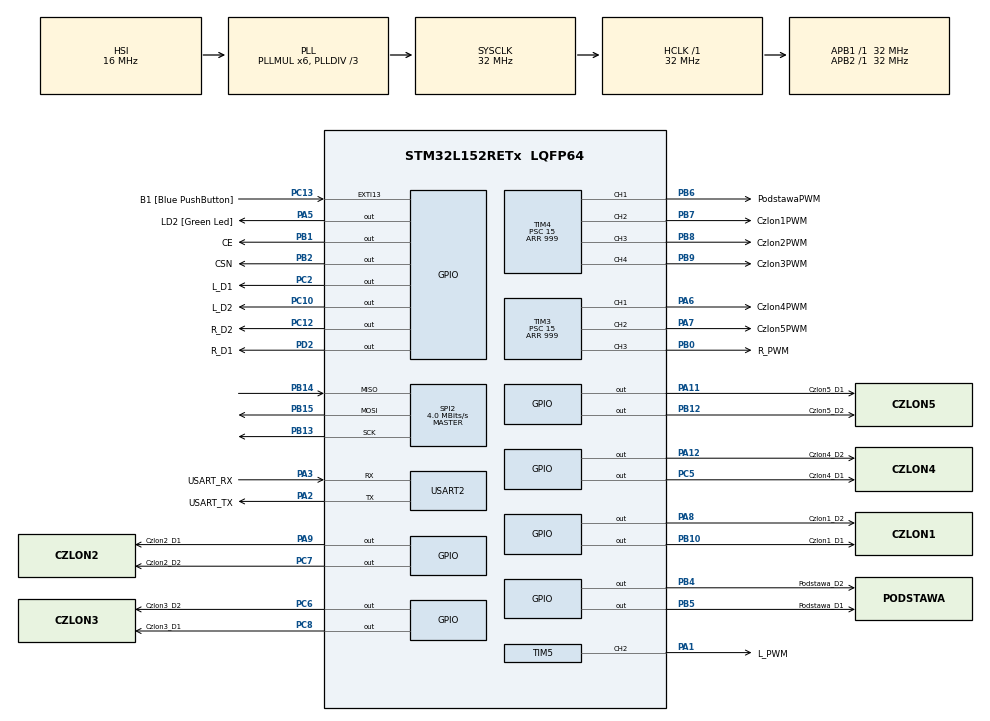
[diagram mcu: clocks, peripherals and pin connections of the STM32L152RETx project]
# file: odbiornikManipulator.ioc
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Mcu.Family=STM32L1
Mcu.Name=STM32L152RETx
Mcu.Package=LQFP64
NVIC.PriorityGroup=NVIC_PRIORITYGROUP_0
PA1.GPIO_Label=L_PWM
PA1.Signal=S_TIM5_CH2
PA11.GPIO_Label=Czlon5_D1
PA11.Signal=GPIO_Output
PA12.GPIO_Label=Czlon4_D2
PA12.Signal=GPIO_Output
PA13.GPIO_Label=TMS
PA13.Mode=Serial_Wire
PA13.Signal=SYS_JTMS-SWDIO
PA14.GPIO_Label=TCK
PA14.Mode=Serial_Wire
PA14.Signal=SYS_JTCK-SWCLK
PA2.GPIO_Label=USART_TX
PA2.Mode=Asynchronous
PA2.Signal=USART2_TX
PA3.GPIO_Label=USART_RX
PA3.Mode=Asynchronous
PA3.Signal=USART2_RX
PA5.GPIO_Label=LD2 [Green Led]
PA5.Signal=GPIO_Output
PA6.GPIO_Label=Czlon4PWM
PA6.Signal=S_TIM3_CH1
PA7.GPIO_Label=Czlon5PWM
PA7.Signal=S_TIM3_CH2
PA8.GPIO_Label=Czlon1_D2
PA8.Signal=GPIO_Output
PA9.GPIO_Label=Czlon2_D1
PA9.Signal=GPIO_Output
PB0.GPIO_Label=R_PWM
PB0.Signal=S_TIM3_CH3
PB1.GPIO_Label=CE
PB1.Signal=GPIO_Output
PB10.GPIO_Label=Czlon1_D1
PB10.Signal=GPIO_Output
PB12.GPIO_Label=Czlon5_D2
PB12.Signal=GPIO_Output
PB13.Mode=Full_Duplex_Master
PB13.Signal=SPI2_SCK
PB14.Mode=Full_Duplex_Master
PB14.Signal=SPI2_MISO
PB15.Mode=Full_Duplex_Master
PB15.Signal=SPI2_MOSI
PB2.GPIO_Label=CSN
PB2.Signal=GPIO_Output
PB3.GPIO_Label=SWO
PB3.Signal=SYS_JTDO-TRACESWO
PB4.GPIO_Label=Podstawa_D2
PB4.Signal=GPIO_Output
PB5.GPIO_Label=Podstawa_D1
PB5.Signal=GPIO_Output
PB6.GPIO_Label=PodstawaPWM
PB6.Signal=S_TIM4_CH1
PB7.GPIO_Label=Czlon1PWM
PB7.Signal=S_TIM4_CH2
PB8.GPIO_Label=Czlon2PWM
PB8.Signal=S_TIM4_CH3
PB9.GPIO_Label=Czlon3PWM
PB9.Signal=S_TIM4_CH4
PC10.GPIO_Label=L_D2
PC10.Signal=GPIO_Output
PC12.GPIO_Label=R_D2
PC12.Signal=GPIO_Output
PC13-WKUP2.GPIO_Label=B1 [Blue PushButton]
PC13-WKUP2.Signal=GPXTI13
PC14-OSC32_IN.Mode=LSE-External-Oscillator
PC14-OSC32_IN.Signal=RCC_OSC32_IN
PC15-OSC32_OUT.Mode=LSE-External-Oscillator
PC15-OSC32_OUT.Signal=RCC_OSC32_OUT
PC2.GPIO_Label=L_D1
PC2.Signal=GPIO_Output
PC5.GPIO_Label=Czlon4_D1
PC5.Signal=GPIO_Output
PC6.GPIO_Label=Czlon3_D2
PC6.Signal=GPIO_Output
PC7.GPIO_Label=Czlon2_D2
PC7.Signal=GPIO_Output
PC8.GPIO_Label=Czlon3_D1
PC8.Signal=GPIO_Output
PD2.GPIO_Label=R_D1
PD2.Signal=GPIO_Output
PH0-OSC_IN.Mode=HSE-External-Clock-Source
PH0-OSC_IN.Signal=RCC_OSC_IN
PH1-OSC_OUT.Signal=RCC_OSC_OUT
ProjectManager.HeapSize=0x200
ProjectManager.StackSize=0x400
ProjectManager.TargetToolchain=STM32CubeIDE
RCC.48MHZClocksFreq_Value=48000000
RCC.AHBFreq_Value=32000000
RCC.APB1Freq_Value=32000000
RCC.APB1TimFreq_Value=32000000
RCC.APB2Freq_Value=32000000
RCC.APB2TimFreq_Value=32000000
RCC.HCLKFreq_Value=32000000
RCC.HSE_VALUE=8000000
RCC.HSI_VALUE=16000000
RCC.MSI_VALUE=2097000
RCC.PLLDIV=RCC_PLL_DIV3
RCC.PLLMUL=RCC_PLL_MUL6
RCC.RTCClockSelectionVirtual=RCC_RTCCLKSOURCE_LSE
RCC.SYSCLKFreq_VALUE=32000000
RCC.SYSCLKSource=RCC_SYSCLKSOURCE_PLLCLK
RCC.USBOutput=48000000
RCC.VCOOutputFreq_Value=96000000
SH.S_TIM3_CH1.0=TIM3_CH1,PWM Generation1 CH1
SH.S_TIM3_CH2.0=TIM3_CH2,PWM Generation2 CH2
SH.S_TIM3_CH3.0=TIM3_CH3,PWM Generation3 CH3
SH.S_TIM4_CH1.0=TIM4_CH1,PWM Generation1 CH1
SH.S_TIM4_CH2.0=TIM4_CH2,PWM Generation2 CH2
SH.S_TIM4_CH3.0=TIM4_CH3,PWM Generation3 CH3
SH.S_TIM4_CH4.0=TIM4_CH4,PWM Generation4 CH4
SH.S_TIM5_CH2.0=TIM5_CH2,PWM Generation2 CH2
SPI2.BaudRatePrescaler=SPI_BAUDRATEPRESCALER_8
SPI2.CalculateBaudRate=4.0 MBits/s
SPI2.Direction=SPI_DIRECTION_2LINES
SPI2.Mode=SPI_MODE_MASTER
SPI2.VirtualType=VM_MASTER
TIM3.Channel-PWM\ Generation1\ CH1=TIM_CHANNEL_1
TIM3.Channel-PWM\ Generation2\ CH2=TIM_CHANNEL_2
TIM3.Channel-PWM\ Generation3\ CH3=TIM_CHANNEL_3
TIM3.OCPolarity_3=TIM_OCPOLARITY_HIGH
TIM3.Period=999
TIM3.Prescaler=15
TIM4.Channel-PWM\ Generation1\ CH1=TIM_CHANNEL_1
TIM4.Channel-PWM\ Generation2\ CH2=TIM_CHANNEL_2
TIM4.Channel-PWM\ Generation3\ CH3=TIM_CHANNEL_3
TIM4.Channel-PWM\ Generation4\ CH4=TIM_CHANNEL_4
TIM4.OC3Preload_PWM=ENABLE
TIM4.Period=999
TIM4.Prescaler=15
TIM5.Channel-PWM\ Generation2\ CH2=TIM_CHANNEL_2
TIM5.Period=999
TIM5.Prescaler=15
USART2.VirtualMode=VM_ASYNC
VP_TIM3_VS_ClockSourceINT.Mode=Internal
VP_TIM4_VS_ClockSourceINT.Mode=Internal
VP_TIM5_VS_ClockSourceINT.Mode=Internal
board=NUCLEO-L152RE

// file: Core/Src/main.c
/* USER CODE BEGIN Header */
/**
  ******************************************************************************
  * @file           : main.c
  * @brief          : Main program body
  ******************************************************************************
  * @attention
  *
  * Copyright (c) 2023 STMicroelectronics.
  * All rights reserved.
  *
  * This software is licensed under terms that can be found in the LICENSE file
  * in the root directory of this software component.
  * If no LICENSE file comes with this software, it is provided AS-IS.
  *
  ******************************************************************************
  */
/* USER CODE END Header */
#include "main.h"
#include "spi.h"
#include "tim.h"
#include "usart.h"
#include "gpio.h"

/* USER CODE BEGIN Includes */
#include "nRF24_Defs.h"
#include "nRF24.h"
#include "string.h"
#include <math.h>
/* USER CODE END Includes */

/* USER CODE BEGIN PV */
uint8_t nrfdata[15];
uint16_t c0 = 0;
uint16_t c1 = 0;
uint16_t c2 = 0;
uint16_t c3 = 0;
uint16_t c4 = 0;
uint16_t c5 = 0;
uint16_t c6 = 0;
uint16_t c7 = 0;
uint16_t f = 0;
uint16_t b = 0;

uint16_t rpwm = 0;
float pwm1 = 0;
float pwm2 = 0;
float step = 0.25;
uint16_t steringpwm = 0;
uint16_t lowvalue = 350;
uint16_t higvalue = 650;
float pwmRight = 0;
float pwmLeft = 0;
int ilpwm;
int irpwm;
uint32_t time;
uint32_t timereset;
/* USER CODE END PV */

void SystemClock_Config(void);

int main(void)
{
  /* USER CODE BEGIN 1 */
	void  stoppodst();
	void stopczlon5();
	void stopczlon1();
	void stopczlon2();
	void stopczlon3();
	void stopczlon4();

	void triggergripper();
	void motor5control();
	void motor4control();
	void motor3control();
	void motor2control();
	void motor1control();
	void motor0control();
	void move();
	void rotate();
	void stopLmotorF();
	void stopRmotorF();
	void rightside();
	void leftside();
	void RmotorF();
	void RmotorB();
	void LmotorF();
	void LmotorB();
	void PWMval(uint8_t ch, uint16_t val);

  /* USER CODE END 1 */

  /* MCU Configuration--------------------------------------------------------*/

  /* Reset of all peripherals, Initializes the Flash interface and the Systick. */
  HAL_Init();

  /* Configure the system clock */
  SystemClock_Config();

  /* Initialize all configured peripherals */
  MX_GPIO_Init();
  MX_USART2_UART_Init();
  MX_SPI2_Init();
  MX_TIM3_Init();
  MX_TIM4_Init();
  MX_TIM5_Init();
  /* USER CODE BEGIN 2 */

  //nRF initialize and settings

  nRF24_Init(&hspi2);
  nRF24_SetRXAddress(0, "Odb");
  nRF24_SetTXAddress("Nad");
  nRF24_RX_Mode();

  //Set timer 2 to PWM function

  HAL_TIM_PWM_Start(&htim4, TIM_CHANNEL_1);
  HAL_TIM_PWM_Start(&htim4, TIM_CHANNEL_2);
  HAL_TIM_PWM_Start(&htim4, TIM_CHANNEL_3);
  HAL_TIM_PWM_Start(&htim4, TIM_CHANNEL_4);
  HAL_TIM_PWM_Start(&htim3, TIM_CHANNEL_1);
  HAL_TIM_PWM_Start(&htim3, TIM_CHANNEL_2);
  HAL_TIM_PWM_Start(&htim3, TIM_CHANNEL_3);
  HAL_TIM_PWM_Start(&htim5, TIM_CHANNEL_2);
  time = HAL_GetTick();
  timereset = HAL_GetTick();
  stoppodst();
  stopczlon5();
  stopczlon1();
  stopczlon2();
  stopczlon3();
  stopczlon4();
  stopLmotorF();
  stopRmotorF();

  /* USER CODE END 2 */

  /* Infinite loop */
  /* USER CODE BEGIN WHILE */
  while (1)
  {

	  //Check if there is receive message

	  if(nRF24_RXAvailible())
	  	  	  {
		  	  //if working blink diode once per second
		  	  	 if (HAL_GetTick()-time >1000)
		  	  	 {
		  	  		HAL_GPIO_TogglePin(LD2_GPIO_Port, LD2_Pin);
		  	  		time = HAL_GetTick();
		  	  	 }
		  	  	 //read received data and save to nrfdata variable
	  	  		 nRF24_ReadRXPaylaod(nrfdata);
	  	  		 timereset = HAL_GetTick();

	  	  	  }
	  //if there is no signal restart nRF24 and stop motor
	  if(HAL_GetTick()-timereset > 500)
	  {
		  nRF24_Init(&hspi2);
		  nRF24_SetRXAddress(0, "Odb");
		  nRF24_SetTXAddress("Nad");
		  nRF24_RX_Mode();
		  stoppodst();
		  stopczlon5();
		  stopczlon1();
		  stopczlon2();
		  stopczlon3();
		  stopczlon4();
		  stopLmotorF();
		  stopRmotorF();

	  }
	  else if (nrfdata[14] == 34 && (nrfdata[0] == 48 || nrfdata[0] == 49) &&
			  (nrfdata[1] == 50 || nrfdata[1] == 48) && (nrfdata[2] == 51 || nrfdata[2] == 48 || nrfdata[2] == 52 ) &&
			  (nrfdata[3] == 53 || nrfdata[3] == 48 || nrfdata[3] == 54) && (nrfdata[4] == 55 || nrfdata[4] == 48 || nrfdata[4] == 56) &&
			  (nrfdata[5] == 57 || nrfdata[5] == 48 || nrfdata[5] == 58) && (nrfdata[8] == 59 || nrfdata[8] == 61 || nrfdata[8] == 60) &&
			  (nrfdata[9] == 64 || nrfdata[9] == 62 || nrfdata[9] == 63)&&

			  (nrfdata[6] >= 32 && nrfdata[6] <= 127)&&
			  (nrfdata[7] >= 32 && nrfdata[7] <= 127)

			  )
	  {
		  	// triggergripper();
		  	 rightside();
		  	 leftside();
		  	 motor5control();
	 		 motor4control();
	 		 motor3control();
	 		 motor2control();
	 		 motor1control();
	 		 motor0control();

	 		// move();
	 		// rotate();
	  }

	  	  /*
	  if(nRF24_RXAvailible())
	  	  {
	  		  nRF24_ReadRXPaylaod(Nrf24_Message);
	  		  HAL_GPIO_TogglePin(LED1_GPIO_Port, LED1_Pin);
	  		  //MessageLength = sprintf(Message, "%c\n\r", Nrf24_Message[0]);
	  		  //HAL_UART_Transmit(&huart2, Message, MessageLength, 1000);
	  	  }
	  	  */
    /* USER CODE END WHILE */

  }
}

void SystemClock_Config(void)
{
  RCC_OscInitTypeDef RCC_OscInitStruct = {0};
  RCC_ClkInitTypeDef RCC_ClkInitStruct = {0};

  /** Configure the main internal regulator output voltage
  */
  __HAL_PWR_VOLTAGESCALING_CONFIG(PWR_REGULATOR_VOLTAGE_SCALE1);

  /** Initializes the RCC Oscillators according to the specified parameters
  * in the RCC_OscInitTypeDef structure.
  */
  RCC_OscInitStruct.OscillatorType = RCC_OSCILLATORTYPE_HSI;
  RCC_OscInitStruct.HSIState = RCC_HSI_ON;
  RCC_OscInitStruct.HSICalibrationValue = RCC_HSICALIBRATION_DEFAULT;
  RCC_OscInitStruct.PLL.PLLState = RCC_PLL_ON;
  RCC_OscInitStruct.PLL.PLLSource = RCC_PLLSOURCE_HSI;
  RCC_OscInitStruct.PLL.PLLMUL = RCC_PLL_MUL6;
  RCC_OscInitStruct.PLL.PLLDIV = RCC_PLL_DIV3;
  if (HAL_RCC_OscConfig(&RCC_OscInitStruct) != HAL_OK)
  {
    Error_Handler();
  }

  /** Initializes the CPU, AHB and APB buses clocks
  */
  RCC_ClkInitStruct.ClockType = RCC_CLOCKTYPE_HCLK|RCC_CLOCKTYPE_SYSCLK
                              |RCC_CLOCKTYPE_PCLK1|RCC_CLOCKTYPE_PCLK2;
  RCC_ClkInitStruct.SYSCLKSource = RCC_SYSCLKSOURCE_PLLCLK;
  RCC_ClkInitStruct.AHBCLKDivider = RCC_SYSCLK_DIV1;
  RCC_ClkInitStruct.APB1CLKDivider = RCC_HCLK_DIV1;
  RCC_ClkInitStruct.APB2CLKDivider = RCC_HCLK_DIV1;

  if (HAL_RCC_ClockConfig(&RCC_ClkInitStruct, FLASH_LATENCY_1) != HAL_OK)
  {
    Error_Handler();
  }
}

/* USER CODE BEGIN 4 */

uint16_t map(uint16_t input_value, uint16_t minRange, uint16_t maxRange, uint16_t New_minRange, uint16_t New_maxRange)
{
	return (((input_value - minRange)*(New_maxRange - New_minRange))/(maxRange - minRange) + New_minRange);
}
void PWMval(uint8_t ch, uint16_t val)
{
	switch (ch)
	{
	case 0:
		__HAL_TIM_SET_COMPARE(&htim4, TIM_CHANNEL_1, val);
	break;
	case 1:
		__HAL_TIM_SET_COMPARE(&htim4, TIM_CHANNEL_2, val);
	break;
	case 2:
		__HAL_TIM_SET_COMPARE(&htim4, TIM_CHANNEL_3, val);
	break;
	case 3:
		__HAL_TIM_SET_COMPARE(&htim4, TIM_CHANNEL_4, val);
	break;
	case 4:
		__HAL_TIM_SET_COMPARE(&htim3, TIM_CHANNEL_1, val);
	break;
	case 5:
		__HAL_TIM_SET_COMPARE(&htim3, TIM_CHANNEL_2, val);
	break;
	case 6:
		__HAL_TIM_SET_COMPARE(&htim3, TIM_CHANNEL_3, val);
	break;
	case 7:
		__HAL_TIM_SET_COMPARE(&htim5, TIM_CHANNEL_2, val);
	break;
	}
}
void podstR()
{
	HAL_GPIO_WritePin(Podstawa_D1_GPIO_Port, Podstawa_D1_Pin, GPIO_PIN_RESET);
	HAL_GPIO_WritePin(Podstawa_D2_GPIO_Port, Podstawa_D2_Pin, GPIO_PIN_SET);

}
void podstL()
{
	HAL_GPIO_WritePin(Podstawa_D2_GPIO_Port, Podstawa_D2_Pin, GPIO_PIN_RESET);
	HAL_GPIO_WritePin(Podstawa_D1_GPIO_Port, Podstawa_D1_Pin, GPIO_PIN_SET);
}

void stoppodst()
{
	HAL_GPIO_WritePin(Podstawa_D1_GPIO_Port, Podstawa_D1_Pin, GPIO_PIN_RESET);
	HAL_GPIO_WritePin(Podstawa_D2_GPIO_Port, Podstawa_D2_Pin, GPIO_PIN_RESET);
	PWMval(0,0);
}

void czlon1R()
{
	HAL_GPIO_WritePin(Czlon1_D1_GPIO_Port, Czlon1_D1_Pin, GPIO_PIN_RESET);
	HAL_GPIO_WritePin(Czlon1_D2_GPIO_Port, Czlon1_D2_Pin, GPIO_PIN_SET);
}
void czlon1L()
{
	HAL_GPIO_WritePin(Czlon1_D1_GPIO_Port, Czlon1_D1_Pin, GPIO_PIN_SET);
	HAL_GPIO_WritePin(Czlon1_D2_GPIO_Port, Czlon1_D2_Pin, GPIO_PIN_RESET);
}
void stopczlon1()
{
	HAL_GPIO_WritePin(Czlon1_D1_GPIO_Port, Czlon1_D1_Pin, GPIO_PIN_RESET);
	HAL_GPIO_WritePin(Czlon1_D2_GPIO_Port, Czlon1_D2_Pin, GPIO_PIN_RESET);
	PWMval(1,0);
}

void czlon2R()
{
	HAL_GPIO_WritePin(Czlon2_D1_GPIO_Port, Czlon2_D1_Pin, GPIO_PIN_RESET);
	HAL_GPIO_WritePin(Czlon2_D2_GPIO_Port, Czlon2_D2_Pin, GPIO_PIN_SET);
}
void czlon2L()
{
	HAL_GPIO_WritePin(Czlon2_D1_GPIO_Port, Czlon2_D1_Pin, GPIO_PIN_SET);
	HAL_GPIO_WritePin(Czlon2_D2_GPIO_Port, Czlon2_D2_Pin, GPIO_PIN_RESET);
}
void stopczlon2()
{
	HAL_GPIO_WritePin(Czlon2_D1_GPIO_Port, Czlon2_D1_Pin, GPIO_PIN_RESET);
	HAL_GPIO_WritePin(Czlon2_D2_GPIO_Port, Czlon2_D2_Pin, GPIO_PIN_RESET);
	PWMval(2,0);
}

void czlon3R()
{
	HAL_GPIO_WritePin(Czlon3_D1_GPIO_Port, Czlon3_D1_Pin, GPIO_PIN_RESET);
	HAL_GPIO_WritePin(Czlon3_D2_GPIO_Port, Czlon3_D2_Pin, GPIO_PIN_SET);
}
void czlon3L()
{
	HAL_GPIO_WritePin(Czlon3_D1_GPIO_Port, Czlon3_D1_Pin, GPIO_PIN_SET);
	HAL_GPIO_WritePin(Czlon3_D2_GPIO_Port, Czlon3_D2_Pin, GPIO_PIN_RESET);
}
void stopczlon3()
{
	HAL_GPIO_WritePin(Czlon3_D1_GPIO_Port, Czlon3_D1_Pin, GPIO_PIN_RESET);
	HAL_GPIO_WritePin(Czlon3_D2_GPIO_Port, Czlon3_D2_Pin, GPIO_PIN_RESET);
	PWMval(3,0);
}

void czlon4R()
{
	HAL_GPIO_WritePin(Czlon4_D1_GPIO_Port, Czlon4_D1_Pin, GPIO_PIN_RESET);
	HAL_GPIO_WritePin(Czlon4_D2_GPIO_Port, Czlon4_D2_Pin, GPIO_PIN_SET);
}
void czlon4L()
{
	HAL_GPIO_WritePin(Czlon4_D1_GPIO_Port, Czlon4_D1_Pin, GPIO_PIN_SET);
	HAL_GPIO_WritePin(Czlon4_D2_GPIO_Port, Czlon4_D2_Pin, GPIO_PIN_RESET);
}
void stopczlon4()
{
	HAL_GPIO_WritePin(Czlon4_D1_GPIO_Port, Czlon4_D1_Pin, GPIO_PIN_RESET);
	HAL_GPIO_WritePin(Czlon4_D2_GPIO_Port, Czlon4_D2_Pin, GPIO_PIN_RESET);
	PWMval(4,0);
}

void czlon5R()
{
	HAL_GPIO_WritePin(Czlon5_D1_GPIO_Port, Czlon5_D1_Pin, GPIO_PIN_RESET);
	HAL_GPIO_WritePin(Czlon5_D2_GPIO_Port, Czlon5_D2_Pin, GPIO_PIN_SET);
}
void czlon5L()
{
	HAL_GPIO_WritePin(Czlon5_D1_GPIO_Port, Czlon5_D1_Pin, GPIO_PIN_SET);
	HAL_GPIO_WritePin(Czlon5_D2_GPIO_Port, Czlon5_D2_Pin, GPIO_PIN_RESET);
}
void stopczlon5()
{
	HAL_GPIO_WritePin(Czlon5_D1_GPIO_Port, Czlon5_D1_Pin, GPIO_PIN_RESET);
	HAL_GPIO_WritePin(Czlon5_D2_GPIO_Port, Czlon5_D2_Pin, GPIO_PIN_RESET);
	PWMval(5,0);
}

void LmotorF()
{
	HAL_GPIO_WritePin(L_D1_GPIO_Port,L_D1_Pin , GPIO_PIN_RESET);
	HAL_GPIO_WritePin(L_D2_GPIO_Port,L_D2_Pin , GPIO_PIN_SET);
}
void LmotorB()
{
	HAL_GPIO_WritePin(L_D2_GPIO_Port, L_D2_Pin, GPIO_PIN_RESET);
	HAL_GPIO_WritePin(L_D1_GPIO_Port, L_D1_Pin, GPIO_PIN_SET);
}
void stopLmotorF()
{
	HAL_GPIO_WritePin(L_D1_GPIO_Port, L_D1_Pin, GPIO_PIN_RESET);
	HAL_GPIO_WritePin(L_D2_GPIO_Port,L_D2_Pin , GPIO_PIN_RESET);
	PWMval(7,0);
}
void RmotorF()
{
	HAL_GPIO_WritePin(R_D1_GPIO_Port,R_D1_Pin , GPIO_PIN_RESET);
	HAL_GPIO_WritePin(R_D2_GPIO_Port,R_D2_Pin , GPIO_PIN_SET);
}
void RmotorB()
{
	HAL_GPIO_WritePin(R_D2_GPIO_Port,R_D2_Pin , GPIO_PIN_RESET);
	HAL_GPIO_WritePin(R_D1_GPIO_Port,R_D1_Pin , GPIO_PIN_SET);
}
void stopRmotorF()
{
	HAL_GPIO_WritePin(R_D1_GPIO_Port,R_D1_Pin , GPIO_PIN_RESET);
	HAL_GPIO_WritePin(R_D2_GPIO_Port, R_D2_Pin, GPIO_PIN_RESET);
	PWMval(6,0);
}

void rightside()
{
	pwm1 = map(nrfdata[6],32,127,0,1000);
	c4 = nrfdata[0];
	if (c4 == 49)
		{
		pwm1 = pwm1*-1;
		}

		if (pwm1 > pwmRight)
		{
			pwmRight = pwmRight + step;
		}
		else if (pwm1 < pwmRight)
		{
			pwmRight = pwmRight - step;
		}
		if (pwmRight > 0)
			{
				RmotorF();
				PWMval(6, (int)pwmRight);
			}
		else if (pwmRight < 0)
		{
			RmotorB();
			PWMval(6, ((int)pwmRight)*-1);
		}

}
void leftside()
{

	pwm2 = map(nrfdata[7],32,127,0,1000);
	c5 = nrfdata[1];

	if (c5 == 50)
	{
		pwm2 = pwm2 *-1;
	}

		if (pwm2 > pwmLeft)
			{
				pwmLeft = pwmLeft+step;
			}
			else if (pwm2 < pwmLeft)
			{
				pwmLeft = pwmLeft-step;
			}
			if (pwmLeft > 0)
			{
				LmotorF();
				PWMval(7, (int)pwmLeft);
			}
			else if (pwmLeft < 0)
			{
				LmotorB();
				PWMval(7, ((int)pwmLeft)*-1);
			}

}

void motor0control()
{
	c0 = (nrfdata[2]);
	if(c0 == 51)
				{
					podstL();
					PWMval(0, 1000);
				}
	else if(c0 == 52)
				{
					podstR();
					PWMval(0, 1000);
				}
	else
	{
		stoppodst();
	}
}

void motor1control()
{
	c1 = (nrfdata[3]);
	if(c1 == 53)
				{
					czlon1L();
					PWMval(1, 1000);
				}
	else if(c1 == 54)
				{
					czlon1R();
					PWMval(1, 1000);
				}
	else
	{
		stopczlon1();
	}
}

void motor2control()
{
	c2 = (nrfdata[4]);
	if(c2 == 55)
				{
					czlon2L();
					PWMval(2, 1000);
				}
	else if(c2 == 56)
				{
					czlon2R();
					PWMval(2, 1000);
				}
	else
	{
		stopczlon2();
	}
}

void motor3control()
{
	c3 = (nrfdata[5]);
	if(c3 == 57)
				{
					czlon3L();
					PWMval(3, 1000);
				}
	else if(c3 == 58)
				{
					czlon3R();
					PWMval(3, 1000);
				}
	else
	{
		stopczlon3();
	}
}

void motor4control()
{
	c6 = (nrfdata[8]);
	if(c6 == 59)
				{
					czlon4L();
					PWMval(4, 1000);
				}
	else if(c6 == 60)
				{
					czlon4R();
					PWMval(4, 1000);
				}
	else
	{
		stopczlon4();
	}
}

void motor5control()
{
	c7 = (nrfdata[9]);
	if(c7 == 62)
				{
					czlon5L();
					PWMval(5, 1000);
				}
	else if(c7 == 63)
				{
					czlon5R();
					PWMval(5, 1000);
				}
	else
	{
		stopczlon5();
	}
}

//void kinematyka()
//{
//	float l1=0.39;
//	float l2=0.335;
//	float l3=0.23;
//	float fi=0;
//
//
//
//	float x=0.5;
//	float y=0.3;
//
//	float x2=x-l3;
//	float y2=y;
//
//
//	float teta2=acos(((x2^2)+(y2^2)-(l1^2)-(l2^2))/(2*l1*l2));
//	float teta1=acos(((x2^2)+((l1+l2*cos(teta2))^2)-((y2-l2*sin(teta2))^2))/(2*x2*(l1+l2*cos(teta2))));
//	float teta3=fi-teta1-teta2;
//
//}

/* USER CODE END 4 */

void Error_Handler(void)
{
  __disable_irq();
  while (1)
  {
  }
}
